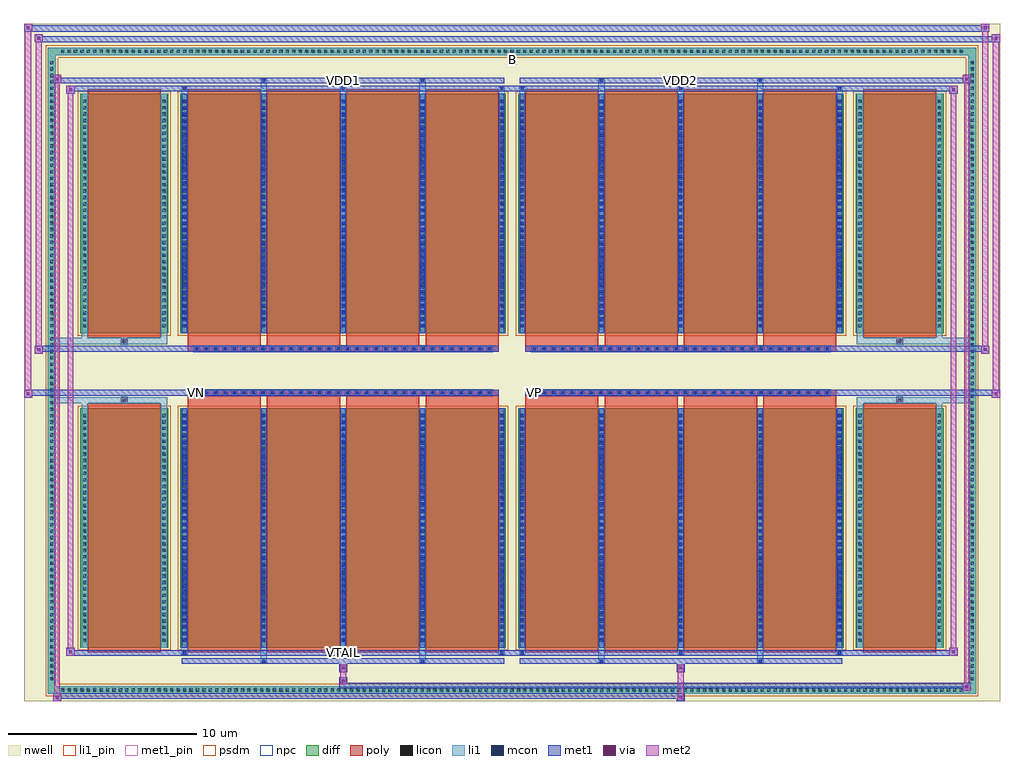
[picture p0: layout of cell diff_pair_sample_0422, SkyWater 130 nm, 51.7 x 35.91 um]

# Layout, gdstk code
import gdstk
lib = gdstk.Library(unit=1e-6, precision=5e-09)
def R(c, l, rs):  # rectangles x0, y0, x1, y1
    for r in rs: c.add(gdstk.rectangle(r[:2], r[2:], *l))
def A(c, l, x, y, w, h, nx, ny, dx, dy):  # array of equal rectangles
    R(c, l, [(x+i*dx, y+j*dy, x+i*dx+w, y+j*dy+h) for i in range(nx) for j in range(ny)])
def P(c, l, *ps):  # polygons
    for p in ps: c.add(gdstk.Polygon(p, *l))
nwell = (64, 20)
diff = (65, 20)
poly = (66, 20)
licon = (66, 44)
li1_pin = (67, 16)
li1 = (67, 20)
mcon = (67, 44)
met1_pin = (68, 16)
met1 = (68, 20)
via = (68, 44)
met2 = (69, 20)
psdm = (94, 20)
npc = (95, 20)

diff_pair_sample_0422 = lib.new_cell('diff_pair_sample_0422')
R(diff_pair_sample_0422, nwell, [(-25.85,-17.52,25.85,18.39), (-23.17,-15.71,-0.01,-0.805), (0.01,-15.71,23.17,-0.805), (-23.17,0.805,-0.01,15.71), (0.01,0.805,23.17,15.71)])
A(diff_pair_sample_0422, diff, -24.005, -17.12, 0.41, 0.41, 141, 2, 0.34, 33.83)
A(diff_pair_sample_0422, diff, -24.58, -16.525, 0.41, 0.41, 1, 97, 0, 0.34)
A(diff_pair_sample_0422, diff, 24.17, -16.525, 0.41, 0.41, 1, 97, 0, 0.34)
R(diff_pair_sample_0422, diff, [(-24.005,-17.12,24.005,-16.71), (-24.58,-16.525,-24.17,16.525), (24.17,-16.525,24.58,16.525), (-22.86,-14.665,-18.21,-1.985), (-17.57,-14.665,-0.32,-1.985), (0.32,-14.665,17.57,-1.985), (18.21,-14.665,22.86,-1.985), (-22.86,1.985,-18.21,14.665), (-17.57,1.985,-0.32,14.665), (0.32,1.985,17.57,14.665), (18.21,1.985,22.86,14.665), (-24.005,16.71,24.005,17.12)])
P(diff_pair_sample_0422, diff, [(24.58,17.12),(-24.58,17.12),(-24.58,-16.71),(-24.17,-16.71),(-24.17,16.71),(24.17,16.71),(24.17,-16.71),(-24.17,-16.71),(-24.58,-16.71),(-24.58,-17.12),(24.58,-17.12)])
A(diff_pair_sample_0422, poly, -17.18, -14.915, 3.87, 13.18, 4, 2, 4.2, 16.65)
A(diff_pair_sample_0422, poly, 0.71, -14.915, 3.87, 13.18, 4, 2, 4.2, 16.65)
A(diff_pair_sample_0422, poly, -17.18, -1.735, 3.87, 0.4, 4, 2, 4.2, 3.07)
A(diff_pair_sample_0422, poly, 0.71, -1.735, 3.87, 0.4, 4, 2, 4.2, 3.07)
A(diff_pair_sample_0422, poly, -16.86, -1.335, 0.33, 0.33, 32, 2, 0.5, 2.34)
A(diff_pair_sample_0422, poly, 1.03, -1.335, 0.33, 0.33, 32, 2, 0.5, 2.34)
R(diff_pair_sample_0422, poly, [(-22.47,-14.915,-18.6,-1.735), (18.6,-14.915,22.47,-1.735), (-20.7,-1.735,-20.37,-1.405), (-20.7,-1.735,-20.37,-1.405), (20.37,-1.735,20.7,-1.405), (20.37,-1.735,20.7,-1.405), (-17.18,-1.335,-0.71,-1.005), (0.71,-1.335,17.18,-1.005), (-17.18,1.005,-0.71,1.335), (0.71,1.005,17.18,1.335), (-20.7,1.405,-20.37,1.735), (-20.7,1.405,-20.37,1.735), (20.37,1.405,20.7,1.735), (20.37,1.405,20.7,1.735), (-22.47,1.735,-18.6,14.915), (18.6,1.735,22.47,14.915)])
A(diff_pair_sample_0422, licon, -23.885, -17, 0.17, 0.17, 141, 2, 0.34, 33.83)
A(diff_pair_sample_0422, licon, -24.46, -16.405, 0.17, 0.17, 1, 97, 0, 0.34)
A(diff_pair_sample_0422, licon, 24.29, -16.405, 0.17, 0.17, 1, 97, 0, 0.34)
A(diff_pair_sample_0422, licon, -22.72, -14.36, 0.17, 0.17, 1, 36, 0, 0.34)
A(diff_pair_sample_0422, licon, -18.52, -14.36, 0.17, 0.17, 1, 36, 0, 0.34)
A(diff_pair_sample_0422, licon, -17.43, -14.36, 0.17, 0.17, 5, 36, 4.2, 0.34)
A(diff_pair_sample_0422, licon, 0.46, -14.36, 0.17, 0.17, 5, 36, 4.2, 0.34)
A(diff_pair_sample_0422, licon, 18.35, -14.36, 0.17, 0.17, 1, 36, 0, 0.34)
A(diff_pair_sample_0422, licon, 22.55, -14.36, 0.17, 0.17, 1, 36, 0, 0.34)
A(diff_pair_sample_0422, licon, -16.78, -1.255, 0.17, 0.17, 32, 2, 0.5, 2.34)
A(diff_pair_sample_0422, licon, 1.11, -1.255, 0.17, 0.17, 32, 2, 0.5, 2.34)
A(diff_pair_sample_0422, licon, -22.72, 2.29, 0.17, 0.17, 1, 36, 0, 0.34)
A(diff_pair_sample_0422, licon, -18.52, 2.29, 0.17, 0.17, 1, 36, 0, 0.34)
A(diff_pair_sample_0422, licon, -17.43, 2.29, 0.17, 0.17, 5, 36, 4.2, 0.34)
A(diff_pair_sample_0422, licon, 0.46, 2.29, 0.17, 0.17, 5, 36, 4.2, 0.34)
A(diff_pair_sample_0422, licon, 18.35, 2.29, 0.17, 0.17, 1, 36, 0, 0.34)
A(diff_pair_sample_0422, licon, 22.55, 2.29, 0.17, 0.17, 1, 36, 0, 0.34)
R(diff_pair_sample_0422, licon, [(-20.62,-1.655,-20.45,-1.485), (20.45,-1.655,20.62,-1.485), (-20.62,1.485,-20.45,1.655), (20.45,1.485,20.62,1.655)])
R(diff_pair_sample_0422, li1_pin, [(-0.25,16.21,0.25,16.71)])
A(diff_pair_sample_0422, li1, -23.965, -17.08, 0.33, 0.33, 141, 2, 0.34, 33.83)
A(diff_pair_sample_0422, li1, -24.54, -16.485, 0.33, 0.33, 1, 97, 0, 0.34)
A(diff_pair_sample_0422, li1, 24.21, -16.485, 0.33, 0.33, 1, 97, 0, 0.34)
A(diff_pair_sample_0422, li1, -17.51, -15.04, 0.33, 0.375, 3, 2, 8.4, 29.705)
A(diff_pair_sample_0422, li1, -17.43, -15.04, 0.17, 0.17, 3, 2, 8.4, 29.91)
A(diff_pair_sample_0422, li1, 0.38, -15.04, 0.33, 0.375, 3, 2, 8.4, 29.705)
A(diff_pair_sample_0422, li1, 0.46, -15.04, 0.17, 0.17, 3, 2, 8.4, 29.91)
A(diff_pair_sample_0422, li1, -17.51, -14.665, 0.33, 12.68, 5, 2, 4.2, 16.65)
A(diff_pair_sample_0422, li1, 0.38, -14.665, 0.33, 12.68, 5, 2, 4.2, 16.65)
A(diff_pair_sample_0422, li1, -22.8, -14.44, 0.33, 0.33, 1, 36, 0, 0.34)
A(diff_pair_sample_0422, li1, -18.6, -14.44, 0.33, 0.33, 1, 36, 0, 0.34)
A(diff_pair_sample_0422, li1, -17.51, -14.44, 0.33, 0.33, 5, 36, 4.2, 0.34)
A(diff_pair_sample_0422, li1, 0.38, -14.44, 0.33, 0.33, 5, 36, 4.2, 0.34)
A(diff_pair_sample_0422, li1, 18.27, -14.44, 0.33, 0.33, 1, 36, 0, 0.34)
A(diff_pair_sample_0422, li1, 22.47, -14.44, 0.33, 0.33, 1, 36, 0, 0.34)
A(diff_pair_sample_0422, li1, -17.43, -14.35, 0.17, 0.17, 5, 34, 4.2, 0.36)
A(diff_pair_sample_0422, li1, -17.43, -14.35, 0.17, 12.05, 5, 2, 4.2, 16.65)
A(diff_pair_sample_0422, li1, 0.46, -14.35, 0.17, 0.17, 5, 34, 4.2, 0.36)
A(diff_pair_sample_0422, li1, 0.46, -14.35, 0.17, 12.05, 5, 2, 4.2, 16.65)
A(diff_pair_sample_0422, li1, -16.86, -1.335, 0.33, 0.33, 32, 2, 0.5, 2.34)
A(diff_pair_sample_0422, li1, 1.03, -1.335, 0.33, 0.33, 32, 2, 0.5, 2.34)
A(diff_pair_sample_0422, li1, -22.8, 2.21, 0.33, 0.33, 1, 36, 0, 0.34)
A(diff_pair_sample_0422, li1, -18.6, 2.21, 0.33, 0.33, 1, 36, 0, 0.34)
A(diff_pair_sample_0422, li1, -17.51, 2.21, 0.33, 0.33, 5, 36, 4.2, 0.34)
A(diff_pair_sample_0422, li1, 0.38, 2.21, 0.33, 0.33, 5, 36, 4.2, 0.34)
A(diff_pair_sample_0422, li1, 18.27, 2.21, 0.33, 0.33, 1, 36, 0, 0.34)
A(diff_pair_sample_0422, li1, 22.47, 2.21, 0.33, 0.33, 1, 36, 0, 0.34)
A(diff_pair_sample_0422, li1, -17.43, 2.3, 0.17, 0.17, 5, 34, 4.2, 0.36)
A(diff_pair_sample_0422, li1, 0.46, 2.3, 0.17, 0.17, 5, 34, 4.2, 0.36)
R(diff_pair_sample_0422, li1, [(-24.58,-17.12,-24.17,-16.71), (-24.58,-17.12,-24.17,-16.71), (-24.17,-17.12,24.17,-16.71), (24.17,-17.12,24.58,-16.71), (24.17,-17.12,24.58,-16.71), (-24.58,-16.71,-24.17,16.71), (24.17,-16.71,24.58,16.71), (-13.31,-15.47,-12.98,-14.665), (-13.23,-15.47,-13.06,-15.3), (-4.91,-15.47,-4.58,-14.665), (-4.83,-15.47,-4.66,-15.3), (4.58,-15.47,4.91,-14.665), (4.66,-15.47,4.83,-15.3), (12.98,-15.47,13.31,-14.665), (13.06,-15.47,13.23,-15.3), (-22.8,-14.665,-22.47,-1.985), (-18.6,-14.665,-18.27,-1.985), (18.27,-14.665,18.6,-1.985), (22.47,-14.665,22.8,-1.985), (-22.8,-1.985,-22.47,-1.405), (-18.6,-1.985,-18.27,-1.405), (18.27,-1.985,18.6,-1.405), (22.47,-1.985,22.8,-1.405), (-24.58,-1.735,-20.7,-1.405), (-22.8,-1.735,-20.7,-1.405), (-20.7,-1.735,-20.37,-1.405), (-20.37,-1.735,-18.27,-1.405), (18.27,-1.735,20.37,-1.405), (20.37,-1.735,20.7,-1.405), (20.37,-1.735,24.58,-1.405), (20.7,-1.735,22.8,-1.405), (-24.58,1.405,-20.7,1.735), (-22.8,1.405,-20.7,1.735), (-22.8,1.405,-22.47,1.985), (-20.7,1.405,-20.37,1.735), (-20.37,1.405,-18.27,1.735), (-18.6,1.405,-18.27,1.985), (18.27,1.405,20.37,1.735), (18.27,1.405,18.6,1.985), (20.37,1.405,20.7,1.735), (20.37,1.405,24.58,1.735), (20.7,1.405,22.8,1.735), (22.47,1.405,22.8,1.985), (-22.8,1.985,-22.47,14.665), (-18.6,1.985,-18.27,14.665), (18.27,1.985,18.6,14.665), (22.47,1.985,22.8,14.665), (-13.31,14.665,-12.98,15.47), (-4.91,14.665,-4.58,15.47), (4.58,14.665,4.91,15.47), (12.98,14.665,13.31,15.47), (-13.23,15.3,-13.06,15.47), (-4.83,15.3,-4.66,15.47), (4.66,15.3,4.83,15.47), (13.06,15.3,13.23,15.47), (-24.58,16.71,-24.17,17.12), (-24.58,16.71,-24.17,17.12), (-24.17,16.71,24.17,17.12), (24.17,16.71,24.58,17.12), (24.17,16.71,24.58,17.12)])
A(diff_pair_sample_0422, mcon, -17.43, -15.04, 0.17, 0.17, 3, 2, 8.4, 29.91)
A(diff_pair_sample_0422, mcon, 0.46, -15.04, 0.17, 0.17, 3, 2, 8.4, 29.91)
A(diff_pair_sample_0422, mcon, -17.43, -14.35, 0.17, 0.17, 5, 34, 4.2, 0.36)
A(diff_pair_sample_0422, mcon, 0.46, -14.35, 0.17, 0.17, 5, 34, 4.2, 0.36)
A(diff_pair_sample_0422, mcon, -16.78, -1.255, 0.17, 0.17, 32, 2, 0.5, 2.34)
A(diff_pair_sample_0422, mcon, 1.11, -1.255, 0.17, 0.17, 32, 2, 0.5, 2.34)
A(diff_pair_sample_0422, mcon, -17.43, 2.3, 0.17, 0.17, 5, 34, 4.2, 0.36)
A(diff_pair_sample_0422, mcon, 0.46, 2.3, 0.17, 0.17, 5, 34, 4.2, 0.36)
R(diff_pair_sample_0422, mcon, [(-13.23,-15.47,-13.06,-15.3), (-4.83,-15.47,-4.66,-15.3), (4.66,-15.47,4.83,-15.3), (13.06,-15.47,13.23,-15.3), (-13.23,15.3,-13.06,15.47), (-4.83,15.3,-4.66,15.47), (4.66,15.3,4.83,15.47), (13.06,15.3,13.23,15.47)])
R(diff_pair_sample_0422, met1_pin, [(-9.08,-15.08,-8.81,-14.81), (-16.83,-1.295,-16.56,-1.025), (1.06,-1.295,1.33,-1.025), (-9.08,15.26,-8.81,15.53), (8.81,15.26,9.08,15.53)])
A(diff_pair_sample_0422, met1, -17.49, -15.1, 0.29, 0.29, 3, 2, 8.4, 29.91)
A(diff_pair_sample_0422, met1, 0.4, -15.1, 0.29, 0.29, 3, 2, 8.4, 29.91)
A(diff_pair_sample_0422, met1, -17.49, -14.665, 0.29, 12.68, 5, 2, 4.2, 16.65)
A(diff_pair_sample_0422, met1, 0.4, -14.665, 0.29, 12.68, 5, 2, 4.2, 16.65)
A(diff_pair_sample_0422, met1, -17.49, -14.41, 0.29, 0.29, 5, 34, 4.2, 0.36)
A(diff_pair_sample_0422, met1, 0.4, -14.41, 0.29, 0.29, 5, 34, 4.2, 0.36)
A(diff_pair_sample_0422, met1, -16.84, -1.315, 0.29, 0.29, 32, 2, 0.5, 2.34)
A(diff_pair_sample_0422, met1, 1.05, -1.315, 0.29, 0.29, 32, 2, 0.5, 2.34)
A(diff_pair_sample_0422, met1, -17.49, 2.24, 0.29, 0.29, 5, 34, 4.2, 0.36)
A(diff_pair_sample_0422, met1, 0.4, 2.24, 0.29, 0.29, 5, 34, 4.2, 0.36)
R(diff_pair_sample_0422, met1, [(-24.31,-17.52,-23.88,-17.09), (8.73,-17.52,9.16,-17.09), (-24.31,-17.38,9.16,-17.09), (23.88,-16.95,24.31,-16.52), (-9.16,-16.81,24.31,-16.52), (-9.16,-16.67,-8.73,-16.24), (-9.16,-15.96,-8.73,-15.53), (8.73,-15.96,9.16,-15.53), (-17.49,-15.53,-0.4,-15.24), (-13.29,-15.53,-13,-15.24), (-4.89,-15.53,-4.6,-15.24), (0.4,-15.53,17.49,-15.24), (4.6,-15.53,4.89,-15.24), (13,-15.53,13.29,-15.24), (-23.6,-15.1,-23.17,-14.67), (-23.6,-15.1,-17.49,-14.81), (-17.49,-15.1,-0.4,-14.81), (-0.4,-15.1,0.4,-14.81), (0.4,-15.1,17.49,-14.81), (17.49,-15.1,23.6,-14.81), (23.17,-15.1,23.6,-14.67), (-25.85,-1.435,-25.42,-1.005), (25.42,-1.435,25.85,-1.005), (-25.85,-1.335,-0.71,-1.005), (-17.18,-1.335,-0.71,-1.005), (0.71,-1.335,17.18,-1.005), (0.71,-1.335,25.85,-1.005), (-25.28,0.905,-24.85,1.335), (24.85,0.905,25.28,1.335), (-25.28,1.005,-17.18,1.335), (-17.18,1.005,-0.71,1.335), (0.71,1.005,17.18,1.335), (17.18,1.005,25.28,1.335), (-23.6,14.67,-23.17,15.1), (23.17,14.67,23.6,15.1), (-23.6,14.81,-17.49,15.1), (-17.49,14.81,-0.4,15.1), (-0.4,14.81,0.4,15.1), (0.4,14.81,17.49,15.1), (17.49,14.81,23.6,15.1), (-24.31,15.24,-23.88,15.67), (-24.31,15.24,-17.49,15.53), (-17.49,15.24,-0.4,15.53), (-13.29,15.24,-13,15.53), (-4.89,15.24,-4.6,15.53), (0.4,15.24,17.49,15.53), (4.6,15.24,4.89,15.53), (13,15.24,13.29,15.53), (17.49,15.24,24.31,15.53), (23.88,15.24,24.31,15.67), (-25.28,17.39,-24.85,17.82), (-25.28,17.39,-23.17,17.72), (-23.17,17.39,23.17,17.72), (23.17,17.39,25.85,17.72), (25.42,17.39,25.85,17.82), (-25.85,17.96,-25.42,18.39), (-25.85,17.96,-23.17,18.29), (-23.17,17.96,23.17,18.29), (23.17,17.96,25.28,18.29), (24.85,17.96,25.28,18.39)])
R(diff_pair_sample_0422, via, [(-24.17,-17.38,-24.02,-17.23), (8.87,-17.38,9.02,-17.23), (24.02,-16.81,24.17,-16.66), (-9.02,-16.53,-8.87,-16.38), (-9.02,-15.82,-8.87,-15.67), (8.87,-15.82,9.02,-15.67), (-23.46,-14.96,-23.31,-14.81), (23.31,-14.96,23.46,-14.81), (-25.71,-1.295,-25.56,-1.145), (25.56,-1.295,25.71,-1.145), (-25.14,1.045,-24.99,1.195), (24.99,1.045,25.14,1.195), (-23.46,14.81,-23.31,14.96), (23.31,14.81,23.46,14.96), (-24.17,15.38,-24.02,15.53), (24.02,15.38,24.17,15.53), (-25.14,17.53,-24.99,17.68), (25.56,17.53,25.71,17.68), (-25.71,18.1,-25.56,18.25), (24.99,18.1,25.14,18.25)])
R(diff_pair_sample_0422, met2, [(-24.31,-17.52,-23.88,-17.09), (-24.24,-17.52,-23.95,15.67), (-23.95,-17.52,-23.88,-17.09), (-24.26,-17.47,-23.93,-17.14), (8.78,-17.47,9.11,-17.14), (8.78,-17.14,9.11,-15.91), (23.88,-16.95,24.31,-16.52), (23.95,-16.95,24.24,15.67), (24.24,-16.95,24.31,-16.52), (23.93,-16.9,24.26,-16.57), (-9.11,-16.62,-8.78,-16.29), (-9.11,-16.29,-8.78,-15.91), (-9.11,-15.91,-8.78,-15.58), (8.78,-15.91,9.11,-15.58), (-23.6,-15.1,-23.17,-14.67), (-23.53,-15.1,-23.24,15.1), (-23.24,-15.1,-23.17,-14.67), (23.17,-15.1,23.6,-14.67), (23.24,-15.1,23.53,15.1), (23.53,-15.1,23.6,-14.67), (-23.55,-15.05,-23.22,-14.72), (23.22,-15.05,23.55,-14.72), (-25.85,-1.435,-25.42,-1.005), (-25.8,-1.435,-25.47,18.39), (-25.47,-1.435,-25.42,-1.005), (25.42,-1.435,25.85,-1.005), (25.47,-1.435,25.8,17.82), (25.8,-1.435,25.85,-1.005), (-25.8,-1.385,-25.47,-1.055), (25.47,-1.385,25.8,-1.055), (-25.28,0.905,-24.85,1.335), (-25.23,0.905,-24.9,17.82), (-24.9,0.905,-24.85,1.335), (24.85,0.905,25.28,1.335), (24.9,0.905,25.23,18.39), (25.23,0.905,25.28,1.335), (-25.23,0.955,-24.9,1.285), (24.9,0.955,25.23,1.285), (-23.6,14.67,-23.17,15.1), (-23.24,14.67,-23.17,15.1), (23.17,14.67,23.6,15.1), (23.53,14.67,23.6,15.1), (-23.55,14.72,-23.22,15.05), (23.22,14.72,23.55,15.05), (-24.31,15.24,-23.88,15.67), (-23.95,15.24,-23.88,15.67), (23.88,15.24,24.31,15.67), (24.24,15.24,24.31,15.67), (-24.26,15.29,-23.93,15.62), (23.93,15.29,24.26,15.62), (-25.28,17.39,-24.85,17.82), (-24.9,17.39,-24.85,17.82), (25.42,17.39,25.85,17.82), (25.8,17.39,25.85,17.82), (-25.23,17.44,-24.9,17.77), (25.47,17.44,25.8,17.77), (-25.85,17.96,-25.42,18.39), (-25.47,17.96,-25.42,18.39), (24.85,17.96,25.28,18.39), (25.23,17.96,25.28,18.39), (-25.8,18.01,-25.47,18.34), (24.9,18.01,25.23,18.34)])
R(diff_pair_sample_0422, psdm, [(-22.99,-14.795,-18.08,-1.855), (-17.7,-14.795,-0.19,-1.855), (0.19,-14.795,17.7,-1.855), (18.08,-14.795,22.99,-1.855), (-22.99,1.855,-18.08,14.795), (-17.7,1.855,-0.19,14.795), (0.19,1.855,17.7,14.795), (18.08,1.855,22.99,14.795)])
P(diff_pair_sample_0422, psdm, [(24.71,17.25),(-24.71,17.25),(-24.71,-16.58),(-24.04,-16.58),(-24.04,16.58),(24.04,16.58),(24.04,-16.58),(-24.04,-16.58),(-24.71,-16.58),(-24.71,-17.25),(24.71,-17.25)])
A(diff_pair_sample_0422, npc, -16.88, -1.355, 0.37, 0.37, 32, 2, 0.5, 2.34)
A(diff_pair_sample_0422, npc, 1.01, -1.355, 0.37, 0.37, 32, 2, 0.5, 2.34)
R(diff_pair_sample_0422, npc, [(-20.72,-1.755,-20.35,-1.385), (20.35,-1.755,20.72,-1.385), (-16.88,-1.355,-16.01,-0.985), (-16.88,-1.355,-16.01,-0.985), (-16.38,-1.355,-15.51,-0.985), (-16.38,-1.355,-15.51,-0.985), (-15.88,-1.355,-15.01,-0.985), (-15.88,-1.355,-15.01,-0.985), (-15.38,-1.355,-14.51,-0.985), (-15.38,-1.355,-14.51,-0.985), (-14.88,-1.355,-14.01,-0.985), (-14.88,-1.355,-14.01,-0.985), (-14.38,-1.355,-13.51,-0.985), (-14.38,-1.355,-13.51,-0.985), (-13.88,-1.355,-13.01,-0.985), (-13.88,-1.355,-13.01,-0.985), (-13.38,-1.355,-12.51,-0.985), (-13.38,-1.355,-12.51,-0.985), (-12.88,-1.355,-12.01,-0.985), (-12.88,-1.355,-12.01,-0.985), (-12.38,-1.355,-11.51,-0.985), (-12.38,-1.355,-11.51,-0.985), (-11.88,-1.355,-11.01,-0.985), (-11.88,-1.355,-11.01,-0.985), (-11.38,-1.355,-10.51,-0.985), (-11.38,-1.355,-10.51,-0.985), (-10.88,-1.355,-10.01,-0.985), (-10.88,-1.355,-10.01,-0.985), (-10.38,-1.355,-9.51,-0.985), (-10.38,-1.355,-9.51,-0.985), (-9.88,-1.355,-9.01,-0.985), (-9.88,-1.355,-9.01,-0.985), (-9.38,-1.355,-8.51,-0.985), (-9.38,-1.355,-8.51,-0.985), (-8.88,-1.355,-8.01,-0.985), (-8.88,-1.355,-8.01,-0.985), (-8.38,-1.355,-7.51,-0.985), (-8.38,-1.355,-7.51,-0.985), (-7.88,-1.355,-7.01,-0.985), (-7.88,-1.355,-7.01,-0.985), (-7.38,-1.355,-6.51,-0.985), (-7.38,-1.355,-6.51,-0.985), (-6.88,-1.355,-6.01,-0.985), (-6.88,-1.355,-6.01,-0.985), (-6.38,-1.355,-5.51,-0.985), (-6.38,-1.355,-5.51,-0.985), (-5.88,-1.355,-5.01,-0.985), (-5.88,-1.355,-5.01,-0.985), (-5.38,-1.355,-4.51,-0.985), (-5.38,-1.355,-4.51,-0.985), (-4.88,-1.355,-4.01,-0.985), (-4.88,-1.355,-4.01,-0.985), (-4.38,-1.355,-3.51,-0.985), (-4.38,-1.355,-3.51,-0.985), (-3.88,-1.355,-3.01,-0.985), (-3.88,-1.355,-3.01,-0.985), (-3.38,-1.355,-2.51,-0.985), (-3.38,-1.355,-2.51,-0.985), (-2.88,-1.355,-2.01,-0.985), (-2.88,-1.355,-2.01,-0.985), (-2.38,-1.355,-1.51,-0.985), (-2.38,-1.355,-1.51,-0.985), (-1.88,-1.355,-1.01,-0.985), (-1.88,-1.355,-1.01,-0.985), (1.01,-1.355,1.88,-0.985), (1.01,-1.355,1.88,-0.985), (1.51,-1.355,2.38,-0.985), (1.51,-1.355,2.38,-0.985), (2.01,-1.355,2.88,-0.985), (2.01,-1.355,2.88,-0.985), (2.51,-1.355,3.38,-0.985), (2.51,-1.355,3.38,-0.985), (3.01,-1.355,3.88,-0.985), (3.01,-1.355,3.88,-0.985), (3.51,-1.355,4.38,-0.985), (3.51,-1.355,4.38,-0.985), (4.01,-1.355,4.88,-0.985), (4.01,-1.355,4.88,-0.985), (4.51,-1.355,5.38,-0.985), (4.51,-1.355,5.38,-0.985), (5.01,-1.355,5.88,-0.985), (5.01,-1.355,5.88,-0.985), (5.51,-1.355,6.38,-0.985), (5.51,-1.355,6.38,-0.985), (6.01,-1.355,6.88,-0.985), (6.01,-1.355,6.88,-0.985), (6.51,-1.355,7.38,-0.985), (6.51,-1.355,7.38,-0.985), (7.01,-1.355,7.88,-0.985), (7.01,-1.355,7.88,-0.985), (7.51,-1.355,8.38,-0.985), (7.51,-1.355,8.38,-0.985), (8.01,-1.355,8.88,-0.985), (8.01,-1.355,8.88,-0.985), (8.51,-1.355,9.38,-0.985), (8.51,-1.355,9.38,-0.985), (9.01,-1.355,9.88,-0.985), (9.01,-1.355,9.88,-0.985), (9.51,-1.355,10.38,-0.985), (9.51,-1.355,10.38,-0.985), (10.01,-1.355,10.88,-0.985), (10.01,-1.355,10.88,-0.985), (10.51,-1.355,11.38,-0.985), (10.51,-1.355,11.38,-0.985), (11.01,-1.355,11.88,-0.985), (11.01,-1.355,11.88,-0.985), (11.51,-1.355,12.38,-0.985), (11.51,-1.355,12.38,-0.985), (12.01,-1.355,12.88,-0.985), (12.01,-1.355,12.88,-0.985), (12.51,-1.355,13.38,-0.985), (12.51,-1.355,13.38,-0.985), (13.01,-1.355,13.88,-0.985), (13.01,-1.355,13.88,-0.985), (13.51,-1.355,14.38,-0.985), (13.51,-1.355,14.38,-0.985), (14.01,-1.355,14.88,-0.985), (14.01,-1.355,14.88,-0.985), (14.51,-1.355,15.38,-0.985), (14.51,-1.355,15.38,-0.985), (15.01,-1.355,15.88,-0.985), (15.01,-1.355,15.88,-0.985), (15.51,-1.355,16.38,-0.985), (15.51,-1.355,16.38,-0.985), (16.01,-1.355,16.88,-0.985), (16.01,-1.355,16.88,-0.985), (-16.88,0.985,-16.01,1.355), (-16.88,0.985,-16.01,1.355), (-16.38,0.985,-15.51,1.355), (-16.38,0.985,-15.51,1.355), (-15.88,0.985,-15.01,1.355), (-15.88,0.985,-15.01,1.355), (-15.38,0.985,-14.51,1.355), (-15.38,0.985,-14.51,1.355), (-14.88,0.985,-14.01,1.355), (-14.88,0.985,-14.01,1.355), (-14.38,0.985,-13.51,1.355), (-14.38,0.985,-13.51,1.355), (-13.88,0.985,-13.01,1.355), (-13.88,0.985,-13.01,1.355), (-13.38,0.985,-12.51,1.355), (-13.38,0.985,-12.51,1.355), (-12.88,0.985,-12.01,1.355), (-12.88,0.985,-12.01,1.355), (-12.38,0.985,-11.51,1.355), (-12.38,0.985,-11.51,1.355), (-11.88,0.985,-11.01,1.355), (-11.88,0.985,-11.01,1.355), (-11.38,0.985,-10.51,1.355), (-11.38,0.985,-10.51,1.355), (-10.88,0.985,-10.01,1.355), (-10.88,0.985,-10.01,1.355), (-10.38,0.985,-9.51,1.355), (-10.38,0.985,-9.51,1.355), (-9.88,0.985,-9.01,1.355), (-9.88,0.985,-9.01,1.355), (-9.38,0.985,-8.51,1.355), (-9.38,0.985,-8.51,1.355), (-8.88,0.985,-8.01,1.355), (-8.88,0.985,-8.01,1.355), (-8.38,0.985,-7.51,1.355), (-8.38,0.985,-7.51,1.355), (-7.88,0.985,-7.01,1.355), (-7.88,0.985,-7.01,1.355), (-7.38,0.985,-6.51,1.355), (-7.38,0.985,-6.51,1.355), (-6.88,0.985,-6.01,1.355), (-6.88,0.985,-6.01,1.355), (-6.38,0.985,-5.51,1.355), (-6.38,0.985,-5.51,1.355), (-5.88,0.985,-5.01,1.355), (-5.88,0.985,-5.01,1.355), (-5.38,0.985,-4.51,1.355), (-5.38,0.985,-4.51,1.355), (-4.88,0.985,-4.01,1.355), (-4.88,0.985,-4.01,1.355), (-4.38,0.985,-3.51,1.355), (-4.38,0.985,-3.51,1.355), (-3.88,0.985,-3.01,1.355), (-3.88,0.985,-3.01,1.355), (-3.38,0.985,-2.51,1.355), (-3.38,0.985,-2.51,1.355), (-2.88,0.985,-2.01,1.355), (-2.88,0.985,-2.01,1.355), (-2.38,0.985,-1.51,1.355), (-2.38,0.985,-1.51,1.355), (-1.88,0.985,-1.01,1.355), (-1.88,0.985,-1.01,1.355), (1.01,0.985,1.88,1.355), (1.01,0.985,1.88,1.355), (1.51,0.985,2.38,1.355), (1.51,0.985,2.38,1.355), (2.01,0.985,2.88,1.355), (2.01,0.985,2.88,1.355), (2.51,0.985,3.38,1.355), (2.51,0.985,3.38,1.355), (3.01,0.985,3.88,1.355), (3.01,0.985,3.88,1.355), (3.51,0.985,4.38,1.355), (3.51,0.985,4.38,1.355), (4.01,0.985,4.88,1.355), (4.01,0.985,4.88,1.355), (4.51,0.985,5.38,1.355), (4.51,0.985,5.38,1.355), (5.01,0.985,5.88,1.355), (5.01,0.985,5.88,1.355), (5.51,0.985,6.38,1.355), (5.51,0.985,6.38,1.355), (6.01,0.985,6.88,1.355), (6.01,0.985,6.88,1.355), (6.51,0.985,7.38,1.355), (6.51,0.985,7.38,1.355), (7.01,0.985,7.88,1.355), (7.01,0.985,7.88,1.355), (7.51,0.985,8.38,1.355), (7.51,0.985,8.38,1.355), (8.01,0.985,8.88,1.355), (8.01,0.985,8.88,1.355), (8.51,0.985,9.38,1.355), (8.51,0.985,9.38,1.355), (9.01,0.985,9.88,1.355), (9.01,0.985,9.88,1.355), (9.51,0.985,10.38,1.355), (9.51,0.985,10.38,1.355), (10.01,0.985,10.88,1.355), (10.01,0.985,10.88,1.355), (10.51,0.985,11.38,1.355), (10.51,0.985,11.38,1.355), (11.01,0.985,11.88,1.355), (11.01,0.985,11.88,1.355), (11.51,0.985,12.38,1.355), (11.51,0.985,12.38,1.355), (12.01,0.985,12.88,1.355), (12.01,0.985,12.88,1.355), (12.51,0.985,13.38,1.355), (12.51,0.985,13.38,1.355), (13.01,0.985,13.88,1.355), (13.01,0.985,13.88,1.355), (13.51,0.985,14.38,1.355), (13.51,0.985,14.38,1.355), (14.01,0.985,14.88,1.355), (14.01,0.985,14.88,1.355), (14.51,0.985,15.38,1.355), (14.51,0.985,15.38,1.355), (15.01,0.985,15.88,1.355), (15.01,0.985,15.88,1.355), (15.51,0.985,16.38,1.355), (15.51,0.985,16.38,1.355), (16.01,0.985,16.88,1.355), (16.01,0.985,16.88,1.355), (-20.72,1.385,-20.35,1.755), (20.35,1.385,20.72,1.755)])
diff_pair_sample_0422.add(gdstk.Label('VTAIL', (-8.945,-14.945), layer=68, texttype=5))
diff_pair_sample_0422.add(gdstk.Label('VN', (-16.695,-1.16), layer=68, texttype=5))
diff_pair_sample_0422.add(gdstk.Label('VP', (1.195,-1.16), layer=68, texttype=5))
diff_pair_sample_0422.add(gdstk.Label('B', (0,16.46), layer=67, texttype=5))
diff_pair_sample_0422.add(gdstk.Label('VDD2', (8.945,15.395), layer=68, texttype=5))
diff_pair_sample_0422.add(gdstk.Label('VDD1', (-8.945,15.395), layer=68, texttype=5))

lib.write_gds('diff_pair_sample_0422.gds')
